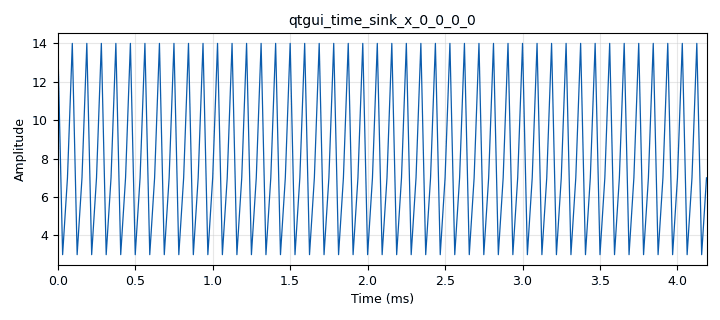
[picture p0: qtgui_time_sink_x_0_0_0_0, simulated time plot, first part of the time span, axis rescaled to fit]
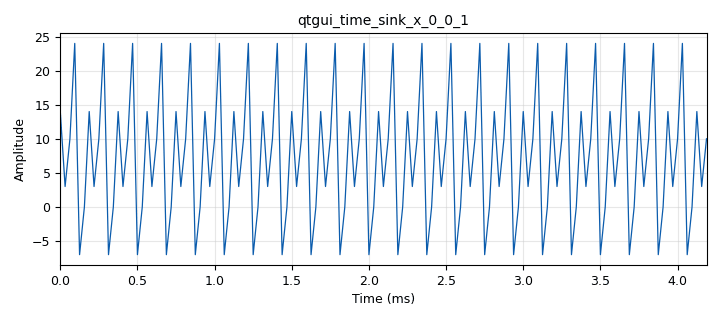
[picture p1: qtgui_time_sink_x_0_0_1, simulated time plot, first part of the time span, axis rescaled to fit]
options:
  parameters:
    author: labcom
    generate_options: qt_gui
    id: diferenciadoer
    output_language: python
    title: Not titled yet
  states: {}

blocks:
- name: samp_rate
  id: variable
  parameters:
    value: '32000'
  states: {}
- name: analog_sig_source_x_0
  id: analog_sig_source_x
  parameters:
    amp: '1'
    freq: '1000'
    offset: '0'
    phase: '0'
    samp_rate: samp_rate
    type: float
    waveform: analog.GR_SIN_WAVE
  states: {state: disabled}
- name: blocks_throttle_0_0
  id: blocks_throttle
  parameters:
    samples_per_second: samp_rate
    type: float
  states: {state: disabled}
- name: blocks_vector_source_x_0_0
  id: blocks_vector_source_x
  parameters:
    repeat: 'True'
    type: float
    vector: (3, 7,14)
  states: {}
- name: epy_block_1
  id: epy_block
  parameters:
    _source_code: |
      import numpy as np
      from gnuradio import gr

      class blk (gr.sync_block):
      	
      	def __init__(self):
      		gr.sync_block.__init__(
      			self,
      			name ='e_Diff',
      			in_sig=[np.float32],
      			out_sig=[np.float32]
      		)
      		self.acum_anterior = 0    
      	def work (self, input_items, output_items):
      		x = input_items[0] 
      		y0 = output_items[0]
      		limited_x = x[:3]
      		N = len(limited_x)
      		
      		diff = np.cumsum (limited_x) - self.acum_anterior
      		self.acum_anterior = diff[N-2]
      		y0[:3] = diff

      		return len (y0[:3])
  states: {}
- name: qtgui_number_sink_0_0
  id: qtgui_number_sink
  parameters:
    graph_type: qtgui.NUM_GRAPH_HORIZ
    type: float
  states: {}
- name: qtgui_time_sink_x_0_0_0
  id: qtgui_time_sink_x
  parameters:
    size: '1024'
    srate: samp_rate
    type: float
  states: {state: disabled}
- name: qtgui_time_sink_x_0_0_0_0
  id: qtgui_time_sink_x
  parameters:
    size: '1024'
    srate: samp_rate
    type: float
  states: {}
- name: qtgui_time_sink_x_0_0_1
  id: qtgui_time_sink_x
  parameters:
    size: '1024'
    srate: samp_rate
    type: float
    ymax: '10'
  states: {}

connections:
- [analog_sig_source_x_0, '0', qtgui_time_sink_x_0_0_0, '0']
- [blocks_vector_source_x_0_0, '0', epy_block_1, '0']
- [blocks_vector_source_x_0_0, '0', qtgui_time_sink_x_0_0_0_0, '0']
- [epy_block_1, '0', qtgui_number_sink_0_0, '0']
- [epy_block_1, '0', qtgui_time_sink_x_0_0_1, '0']

metadata:
  file_format: 1
  grc_version: 3.10.9.2
